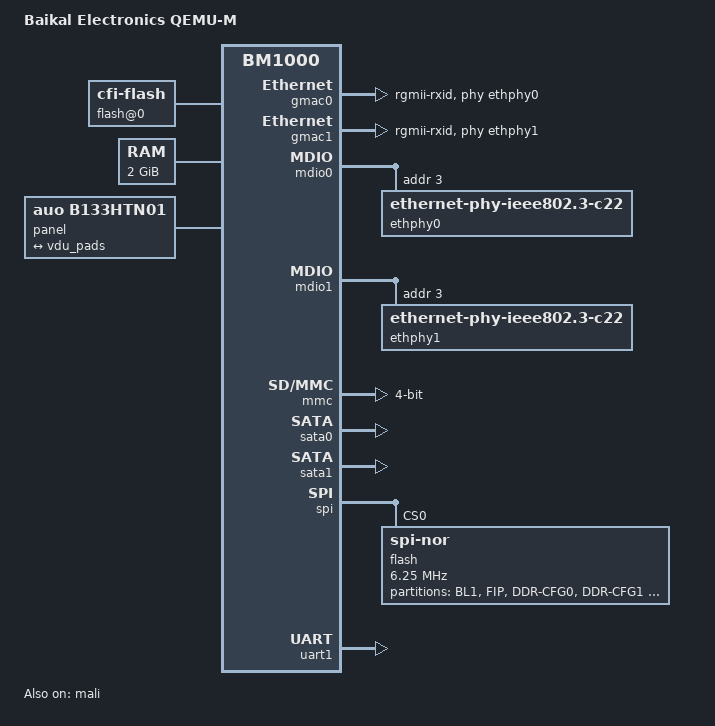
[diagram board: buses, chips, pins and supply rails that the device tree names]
// SPDX-License-Identifier: GPL-2.0
/*
 * Device tree source for Baikal Electronics QEMU-M virtual platform
 * Copyright (C) 2018-2025 Baikal Electronics, JSC
 */

/dts-v1/;

#include "bm1000.dtsi"

/ {
	model = "Baikal Electronics QEMU-M";
	compatible = "baikal,qemu-m", "baikal,bm1000";

	aliases {
		ethernet0 = &gmac0;
		ethernet1 = &gmac1;
	};

	chosen { };

	/*
	 * Device is necessary for UEFI to boot on QEMU,
	 * need to replace it with something later.
	 */
	flash@0 {
		compatible = "cfi-flash";
		reg = <0x0 0x4000000 0x0 0x4000000>;
		bank-width = <0x4>;
	};

	memory@80000000 {
		device_type = "memory";
		reg = <0x00000000 0x80000000 0x0 0x80000000>; /* 2 GiB */
	};

	panel: panel {
		compatible = "auo,b133htn01"; /* 1920x1080 */
		port {
			lcd_panel: endpoint {
				remote-endpoint = <&vdu_pads>;
			};
		};
	};
};

&gmac0 {
	status = "okay";
	phy-handle = <&ethphy0>;
	phy-mode = "rgmii-rxid";
};

&gmac1 {
	status = "okay";
	phy-handle = <&ethphy1>;
	phy-mode = "rgmii-rxid";
};

&mali {
	status = "okay";
};

&mdio0 {
	reset-delay-us = <10200>;
	/* Due to a 10uf capacitor on a reset line */
	reset-post-delay-us = <20000>;

	ethphy0: ethernet-phy@3 {
		compatible = "ethernet-phy-ieee802.3-c22";
		reg = <0x3>;
	};
};

&mdio1 {
	reset-delay-us = <10200>;
	/* Due to a 10uf capacitor on a reset line */
	reset-post-delay-us = <20000>;

	ethphy1: ethernet-phy@3 {
		compatible = "ethernet-phy-ieee802.3-c22";
		reg = <0x3>;
	};
};

&mmc {
	/* SD */
	status = "okay";
	bus-width = <4>;
	max-frequency = <25000000>;
	disable-wp;
	no-mmc;
	no-sdio;
};

&sata0 {
	status = "okay";
};

&sata1 {
	status = "okay";
};

&spi {
	status = "okay";

	flash@0 {
		compatible = "jedec,spi-nor";
		reg = <0>;
		spi-max-frequency = <6250000>;
		spi-tx-bus-width = <1>;
		spi-rx-bus-width = <1>;
		status = "okay";

		partitions {
			compatible = "fixed-partitions";
			#address-cells = <1>;
			#size-cells = <1>;

			partition@0 {
				label = "BL1";
				reg = <0x000000 0x10000>;
			};

			partition@40000 {
				label = "FIP";
				reg = <0x40000 0x200000>;
			};

			partition@240000 {
				label = "DDR-CFG0";
				reg = <0x240000 0x40000>;
			};

			partition@280000 {
				label = "DDR-CFG1";
				reg = <0x280000 0x40000>;
			};

			partition@2c0000 {
				label = "UEFI vars";
				reg = <0x2c0000 0xc0000>;
			};

			partition@380000 {
				label = "FAT";
				reg = <0x380000 0x1c80000>;
			};
		};
	};
};

&uart1 {
	status = "okay";
	clocks = <&avlsp_cmu0 1>, <&refclk200mhz>, <&refclk200mhz>;
	clock-names = "soc_uartclk", "apb_pclk", "baudclk";
};

&vdu {
	port {
		vdu_pads: endpoint {
			remote-endpoint = <&lcd_panel>;
		};
	};
};
